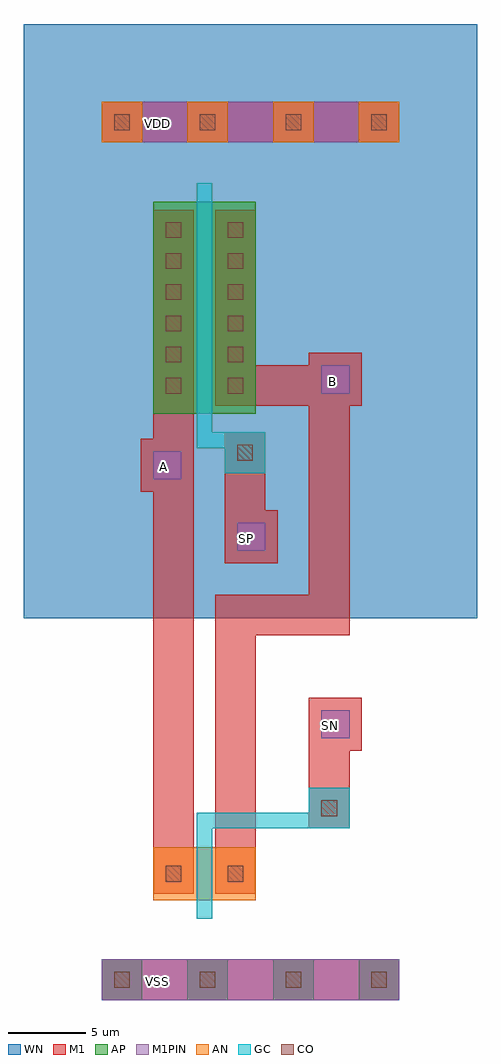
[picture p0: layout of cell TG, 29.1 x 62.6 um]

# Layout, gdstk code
import gdstk
lib = gdstk.Library(unit=1e-6, precision=1e-07)
def R(c, l, rs):  # rectangles x0, y0, x1, y1
    for r in rs: c.add(gdstk.rectangle(r[:2], r[2:], *l))
def A(c, l, x, y, w, h, nx, ny, dx, dy):  # array of equal rectangles
    R(c, l, [(x+i*dx, y+j*dy, x+i*dx+w, y+j*dy+h) for i in range(nx) for j in range(ny)])
AP = (3, 1)
AN = (3, 2)
GC = (8, 1)
CO = (11, 0)
M1 = (13, 0)
M1PIN = (48, 1)
WN = (140, 0)

c_tg = lib.new_cell('TG')
A(c_tg, AP, 5, 0, 2.6, 2.6, 4, 1, 5.5, 0)
R(c_tg, AP, [(8.3,37.6,14.9,51.2)])
A(c_tg, AN, 5, 55, 2.6, 2.6, 4, 1, 5.5, 0)
R(c_tg, AN, [(8.3,6.4,14.9,9.8)])
R(c_tg, GC, [(11.1,11,18.3,12), (18.3,11,20.9,13.6), (12.9,33.8,15.5,36.4), (11.1,35.4,12.9,36.4)])
A(c_tg, CO, 5.8, 0.8, 1, 1, 4, 2, 5.5, 55)
A(c_tg, CO, 9.1, 38.9, 1, 1, 1, 6, 0, 2)
A(c_tg, CO, 13.1, 38.9, 1, 1, 1, 6, 0, 2)
R(c_tg, CO, [(9.1,7.6,10.1,8.6), (13.1,7.6,14.1,8.6), (19.1,11.8,20.1,12.8), (13.7,34.6,14.7,35.6)])
R(c_tg, M1, [(5,0,24.1,2.6), (8.3,6.8,10.9,9.4), (12.3,6.8,14.9,9.4), (8.3,9.4,10.9,32.6), (12.3,9.4,14.9,23.4), (18.3,11,20.9,16), (18.3,16,21.7,19.4), (12.3,23.4,18.3,26), (18.3,23.4,20.9,38.1), (12.9,28,16.3,31.4), (12.9,31.4,15.5,36.4), (7.5,32.6,10.9,36), (8.3,36,10.9,38.1), (8.3,38.1,10.9,50.7), (12.3,38.1,14.9,50.7), (14.9,38.1,18.3,40.7), (18.3,38.1,21.7,41.5), (5,55,24.1,57.6)])
R(c_tg, M1PIN, [(5,0,24.1,2.6), (19.1,16.8,20.9,18.6), (13.7,28.8,15.5,30.6), (8.3,33.4,10.1,35.2), (19.1,38.9,20.9,40.7), (5,55,24.1,57.6)])
R(c_tg, WN, [(0,24.5,29.1,62.6)])
c_tg.add(gdstk.FlexPath([(11.6,5.2),(11.6,11)], 1, ends="flush", simple_path=True, layer=8, datatype=1))  # GC
c_tg.add(gdstk.FlexPath([(11.6,36.4),(11.6,52.4)], 1, ends="flush", simple_path=True, layer=8, datatype=1))  # GC
c_tg.add(gdstk.Label('B', (19.8,39.7), layer=48, texttype=0))
c_tg.add(gdstk.Label('A', (9,34.2), layer=48, texttype=0))
c_tg.add(gdstk.Label('SP', (14.3,29.6), layer=48, texttype=0))
c_tg.add(gdstk.Label('SN', (19.7,17.6), layer=48, texttype=0))
c_tg.add(gdstk.Label('VSS', (8.6,1.2), layer=48, texttype=0))
c_tg.add(gdstk.Label('VDD', (8.6,56.2), layer=48, texttype=0))

lib.write_gds('TG.gds')
